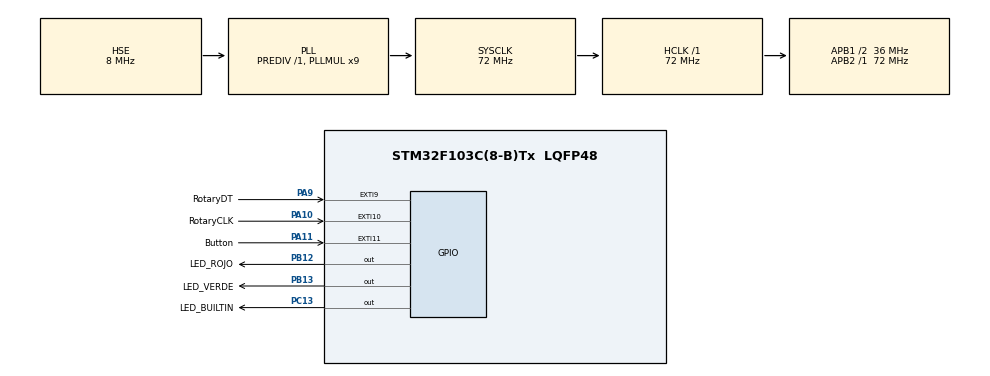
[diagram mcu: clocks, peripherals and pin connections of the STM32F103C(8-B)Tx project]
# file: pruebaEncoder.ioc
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Mcu.Family=STM32F1
RCC.PLLSourceVirtual=RCC_PLLSOURCE_HSE
PD1-OSC_OUT.Mode=HSE-External-Oscillator
PA10.GPIO_PuPd=GPIO_PULLUP
PA9.GPIO_Label=RotaryDT
PC13-TAMPER-RTC.Signal=GPIO_Output
PA11.GPIO_Label=Button
PD0-OSC_IN.Signal=RCC_OSC_IN
PA11.GPIO_PuPd=GPIO_PULLUP
RCC.APB1CLKDivider=RCC_HCLK_DIV2
PB13.GPIO_Label=LED_VERDE
PB13.Signal=GPIO_Output
PA9.GPIO_PuPd=GPIO_PULLUP
RCC.SYSCLKSource=RCC_SYSCLKSOURCE_PLLCLK
ProjectManager.StackSize=0x400
PD1-OSC_OUT.Signal=RCC_OSC_OUT
PA13.Signal=SYS_JTMS-SWDIO
ProjectManager.TargetToolchain=STM32CubeIDE
RCC.HCLKFreq_Value=72000000
RCC.APB2TimFreq_Value=72000000
PA9.Signal=GPXTI9
RCC.USBFreq_Value=72000000
RCC.AHBFreq_Value=72000000
PD0-OSC_IN.Mode=HSE-External-Oscillator
NVIC.EXTI15_10_IRQn=true\:0\:0\:false\:false\:true\:true\:true
board=custom
PC13-TAMPER-RTC.GPIO_Label=LED_BUILTIN
RCC.PLLMUL=RCC_PLL_MUL9
PB12.GPIO_Label=LED_ROJO
RCC.APB2Freq_Value=72000000
PA14.Mode=Serial_Wire
PA10.GPIO_Label=RotaryCLK
PA13.Mode=Serial_Wire
Mcu.Name=STM32F103C(8-B)Tx
RCC.SYSCLKFreq_VALUE=72000000
Mcu.Package=LQFP48
PA10.GPIO_ModeDefaultEXTI=GPIO_MODE_IT_RISING_FALLING
PA11.Signal=GPXTI11
NVIC.EXTI9_5_IRQn=true\:0\:0\:false\:false\:true\:true\:true
PA10.Signal=GPXTI10
PA14.Signal=SYS_JTCK-SWCLK
ProjectManager.HeapSize=0x200
NVIC.PriorityGroup=NVIC_PRIORITYGROUP_4
PA9.GPIO_ModeDefaultEXTI=GPIO_MODE_IT_RISING_FALLING
RCC.APB1TimFreq_Value=72000000
PA11.GPIO_ModeDefaultEXTI=GPIO_MODE_IT_FALLING
RCC.APB1Freq_Value=36000000
PB12.Signal=GPIO_Output

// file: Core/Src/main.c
/* USER CODE BEGIN Header */
/**
  ******************************************************************************
  * @file           : main.c
  * @brief          : Main program body
  ******************************************************************************
  * @attention
  *
  * <h2><center>&copy; Copyright (c) 2022 STMicroelectronics.
  * All rights reserved.</center></h2>
  *
  * This software component is licensed by ST under BSD 3-Clause license,
  * the "License"; You may not use this file except in compliance with the
  * License. You may obtain a copy of the License at:
  *                        opensource.org/licenses/BSD-3-Clause
  *
  ******************************************************************************
  */
/* USER CODE END Header */
#include "main.h"

/* USER CODE BEGIN PV */
uint32_t menuCounter = 0;	//counts the clicks of the rotary encoder between menu items (0-3 in this case)
uint32_t menu1_value = 0;	//value within menu 1
uint32_t menu2_value = 0;	//value within menu 2
uint32_t menu3_value = 0;	//value within menu 3
uint32_t menu4_value = 0;	//value within menu 4
uint8_t menu1_selected = 0;	//value within menu 1
uint8_t menu2_selected = 0;	//value within menu 2
uint8_t menu3_selected = 0;	//value within menu 3
uint8_t menu4_selected = 0;	//value within menu 4
uint32_t CLKNow;			//status for the rotary encoder
uint32_t CLKPrevious;		//status for the rotary encoder
uint32_t DTNow;			//status for the rotary encoder
uint32_t DTPrevious;		//status for the rotary encoder
uint32_t previousMillis = 0;
uint32_t currentMillis = 0;
/* USER CODE END PV */

void SystemClock_Config(void);
static void MX_GPIO_Init(void);

int main(void)
{

  /* MCU Configuration--------------------------------------------------------*/

  /* Reset of all peripherals, Initializes the Flash interface and the Systick. */
  HAL_Init();

  /* Configure the system clock */
  SystemClock_Config();

  /* Initialize all configured peripherals */
  MX_GPIO_Init();
  /* USER CODE BEGIN 2 */
  CLKPrevious = HAL_GPIO_ReadPin(GPIOA, GPIO_PIN_10);
  DTPrevious = HAL_GPIO_ReadPin(GPIOA, GPIO_PIN_9);
  /* USER CODE END 2 */

  /* Infinite loop */
  while (1)
  {

  }
}

void SystemClock_Config(void)
{
  RCC_OscInitTypeDef RCC_OscInitStruct = {0};
  RCC_ClkInitTypeDef RCC_ClkInitStruct = {0};

  /** Initializes the RCC Oscillators according to the specified parameters
  * in the RCC_OscInitTypeDef structure.
  */
  RCC_OscInitStruct.OscillatorType = RCC_OSCILLATORTYPE_HSE;
  RCC_OscInitStruct.HSEState = RCC_HSE_ON;
  RCC_OscInitStruct.HSEPredivValue = RCC_HSE_PREDIV_DIV1;
  RCC_OscInitStruct.HSIState = RCC_HSI_ON;
  RCC_OscInitStruct.PLL.PLLState = RCC_PLL_ON;
  RCC_OscInitStruct.PLL.PLLSource = RCC_PLLSOURCE_HSE;
  RCC_OscInitStruct.PLL.PLLMUL = RCC_PLL_MUL9;
  if (HAL_RCC_OscConfig(&RCC_OscInitStruct) != HAL_OK)
  {
    Error_Handler();
  }
  /** Initializes the CPU, AHB and APB buses clocks
  */
  RCC_ClkInitStruct.ClockType = RCC_CLOCKTYPE_HCLK|RCC_CLOCKTYPE_SYSCLK
                              |RCC_CLOCKTYPE_PCLK1|RCC_CLOCKTYPE_PCLK2;
  RCC_ClkInitStruct.SYSCLKSource = RCC_SYSCLKSOURCE_PLLCLK;
  RCC_ClkInitStruct.AHBCLKDivider = RCC_SYSCLK_DIV1;
  RCC_ClkInitStruct.APB1CLKDivider = RCC_HCLK_DIV2;
  RCC_ClkInitStruct.APB2CLKDivider = RCC_HCLK_DIV1;

  if (HAL_RCC_ClockConfig(&RCC_ClkInitStruct, FLASH_LATENCY_2) != HAL_OK)
  {
    Error_Handler();
  }
}

static void MX_GPIO_Init(void)
{
  GPIO_InitTypeDef GPIO_InitStruct = {0};

  /* GPIO Ports Clock Enable */
  __HAL_RCC_GPIOC_CLK_ENABLE();
  __HAL_RCC_GPIOD_CLK_ENABLE();
  __HAL_RCC_GPIOB_CLK_ENABLE();
  __HAL_RCC_GPIOA_CLK_ENABLE();

  /*Configure GPIO pin Output Level */
  HAL_GPIO_WritePin(LED_BUILTIN_GPIO_Port, LED_BUILTIN_Pin, GPIO_PIN_RESET);

  /*Configure GPIO pin Output Level */
  HAL_GPIO_WritePin(GPIOB, LED_ROJO_Pin|LED_VERDE_Pin, GPIO_PIN_RESET);

  /*Configure GPIO pin : LED_BUILTIN_Pin */
  GPIO_InitStruct.Pin = LED_BUILTIN_Pin;
  GPIO_InitStruct.Mode = GPIO_MODE_OUTPUT_PP;
  GPIO_InitStruct.Pull = GPIO_NOPULL;
  GPIO_InitStruct.Speed = GPIO_SPEED_FREQ_LOW;
  HAL_GPIO_Init(LED_BUILTIN_GPIO_Port, &GPIO_InitStruct);

  /*Configure GPIO pins : LED_ROJO_Pin LED_VERDE_Pin */
  GPIO_InitStruct.Pin = LED_ROJO_Pin|LED_VERDE_Pin;
  GPIO_InitStruct.Mode = GPIO_MODE_OUTPUT_PP;
  GPIO_InitStruct.Pull = GPIO_NOPULL;
  GPIO_InitStruct.Speed = GPIO_SPEED_FREQ_LOW;
  HAL_GPIO_Init(GPIOB, &GPIO_InitStruct);

  /*Configure GPIO pins : RotaryDT_Pin RotaryCLK_Pin */
  GPIO_InitStruct.Pin = RotaryDT_Pin|RotaryCLK_Pin;
  GPIO_InitStruct.Mode = GPIO_MODE_IT_RISING_FALLING;
  GPIO_InitStruct.Pull = GPIO_PULLUP;
  HAL_GPIO_Init(GPIOA, &GPIO_InitStruct);

  /*Configure GPIO pin : Button_Pin */
  GPIO_InitStruct.Pin = Button_Pin;
  GPIO_InitStruct.Mode = GPIO_MODE_IT_FALLING;
  GPIO_InitStruct.Pull = GPIO_PULLUP;
  HAL_GPIO_Init(Button_GPIO_Port, &GPIO_InitStruct);

  /* EXTI interrupt init*/
  HAL_NVIC_SetPriority(EXTI9_5_IRQn, 0, 0);
  HAL_NVIC_EnableIRQ(EXTI9_5_IRQn);

  HAL_NVIC_SetPriority(EXTI15_10_IRQn, 0, 0);
  HAL_NVIC_EnableIRQ(EXTI15_10_IRQn);

}

/* USER CODE BEGIN 4 */

void HAL_GPIO_EXTI_Callback(uint16_t GPIO_Pin)
{
	currentMillis = HAL_GetTick();
	//Rotate encoder CCKW or CKW
	if(currentMillis - previousMillis > 150)
	{
		if(GPIO_Pin == RotaryDT_Pin)
		{
	    	HAL_GPIO_TogglePin(GPIOB, LED_ROJO_Pin);
	    	if(menuCounter == 1) menuCounter = 1;
	    	else menuCounter--;
	    	previousMillis = currentMillis;
		}

		else if(GPIO_Pin == RotaryCLK_Pin)
		{
	    	HAL_GPIO_TogglePin(GPIOB, LED_VERDE_Pin);
	    	if(menuCounter == 4) menuCounter = 4;
	    	else menuCounter++;
	    	previousMillis = currentMillis;
		}

		else if(GPIO_Pin == Button_Pin)
		{
	    	HAL_GPIO_TogglePin(GPIOC, LED_BUILTIN_Pin);
	    	switch(menuCounter)
	    	{
	    		case 1:
	    			if(menu1_selected == 0) menu1_selected = 1;
	    			else menu1_selected = 0;
	    			break;
	    		case 2:
	    			if(menu2_selected == 0) menu2_selected = 1;
	    			else menu2_selected = 0;
	    			break;
	    		case 3:
	    			if(menu3_selected == 0) menu3_selected = 1;
	    			else menu3_selected = 0;
	    			break;
	    		case 4:
	    			if(menu4_selected == 0) menu4_selected = 1;
	    			else menu4_selected = 0;
	    			break;
	    	}
	    	previousMillis = currentMillis;
		}
	}
}

/* USER CODE END 4 */

void Error_Handler(void)
{
  __disable_irq();
  while (1)
  {
  }
}

/************************ (C) COPYRIGHT STMicroelectronics *****END OF FILE****/
